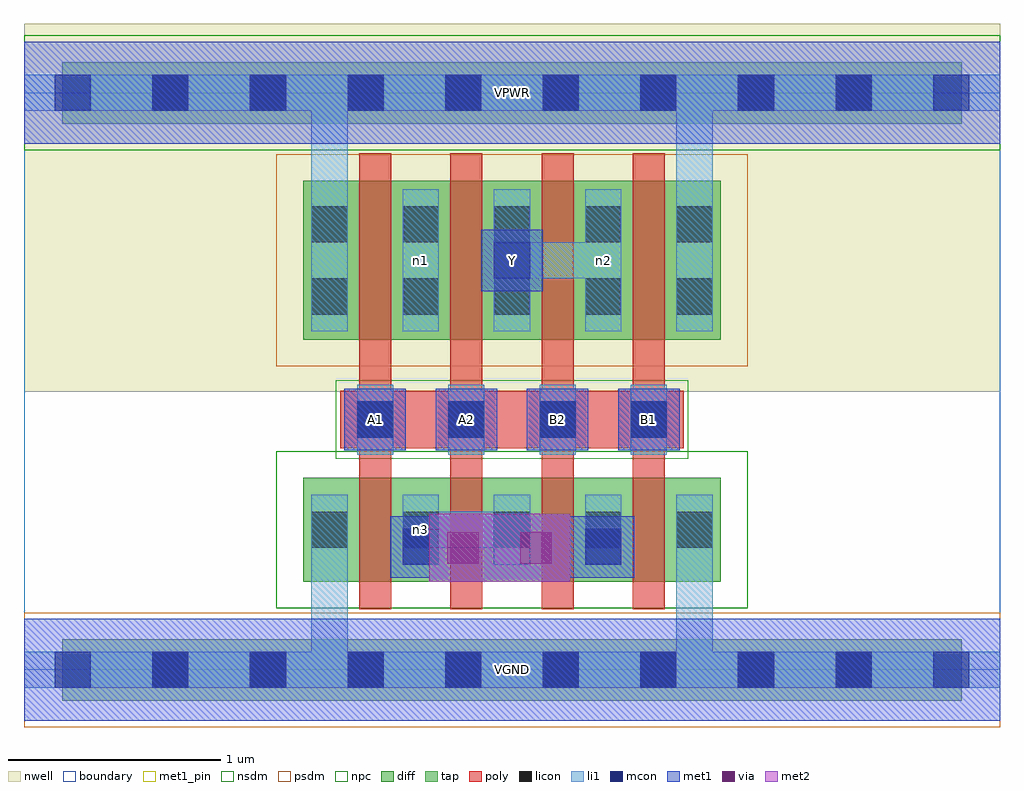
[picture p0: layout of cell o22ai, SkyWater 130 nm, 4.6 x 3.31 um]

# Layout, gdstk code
import gdstk
lib = gdstk.Library(unit=1e-6, precision=1e-09)
def R(c, l, rs):  # rectangles x0, y0, x1, y1
    for r in rs: c.add(gdstk.rectangle(r[:2], r[2:], *l))
def A(c, l, x, y, w, h, nx, ny, dx, dy):  # array of equal rectangles
    R(c, l, [(x+i*dx, y+j*dy, x+i*dx+w, y+j*dy+h) for i in range(nx) for j in range(ny)])
nwell = (64, 20)
diff = (65, 20)
tap = (65, 44)
poly = (66, 20)
licon = (66, 44)
li1 = (67, 20)
mcon = (67, 44)
met1_pin = (68, 16)
met1 = (68, 20)
via = (68, 44)
met2 = (69, 20)
nsdm = (93, 44)
psdm = (94, 20)
npc = (95, 20)
boundary = (235, 4)

o22ai = lib.new_cell('o22ai')
R(o22ai, nwell, [(0,1.31,4.6,3.045)])
R(o22ai, diff, [(1.315,0.415,3.285,0.905), (1.315,1.555,3.285,2.305)])
R(o22ai, tap, [(0.18,-0.145,4.42,0.145), (0.18,2.575,4.42,2.865)])
R(o22ai, poly, [(1.58,0.285,1.73,2.435), (1.58,0.285,1.73,2.435), (2.01,0.285,2.16,2.435), (2.01,0.285,2.16,2.435), (2.44,0.285,2.59,2.435), (2.44,0.285,2.59,2.435), (2.87,0.285,3.02,2.435), (2.87,0.285,3.02,2.435), (1.49,1.045,3.11,1.315), (1.49,1.045,3.11,1.315)])
A(o22ai, licon, 0.605, -0.085, 0.17, 0.17, 8, 2, 0.46, 2.72)
A(o22ai, licon, 1.355, 0.575, 0.17, 0.17, 5, 2, 0.43, 1.1)
A(o22ai, licon, 1.355, 2.015, 0.17, 0.17, 5, 1, 0.43, 0)
R(o22ai, licon, [(1.57,1.095,1.74,1.265), (1.57,1.095,1.74,1.265), (2,1.095,2.17,1.265), (2,1.095,2.17,1.265), (2.43,1.095,2.6,1.265), (2.43,1.095,2.6,1.265), (2.86,1.095,3.03,1.265), (2.86,1.095,3.03,1.265)])
A(o22ai, li1, 1.355, 0.495, 0.17, 0.33, 5, 1, 0.43, 0)
A(o22ai, li1, 1.355, 1.595, 0.17, 0.67, 5, 1, 0.43, 0)
R(o22ai, li1, [(0,-0.085,4.6,0.085), (1.355,-0.085,1.525,0.825), (3.075,-0.085,3.245,0.825), (1.785,0.575,2.385,0.745), (1.57,1.015,1.74,1.345), (1.57,1.015,1.74,1.345), (2,1.015,2.17,1.345), (2,1.015,2.17,1.345), (2.43,1.015,2.6,1.345), (2.43,1.015,2.6,1.345), (2.86,1.015,3.03,1.345), (2.86,1.015,3.03,1.345), (1.355,1.595,1.525,2.805), (3.075,1.595,3.245,2.805), (2.215,1.845,2.815,2.015), (0,2.635,4.6,2.805)])
A(o22ai, mcon, 0.145, -0.085, 0.17, 0.17, 10, 2, 0.46, 2.72)
A(o22ai, mcon, 1.57, 1.095, 0.17, 0.17, 4, 1, 0.43, 0)
R(o22ai, mcon, [(1.785,0.495,1.955,0.665), (2.645,0.495,2.815,0.665), (2.215,1.845,2.385,2.015)])
A(o22ai, met1_pin, 1.51, 1.035, 0.29, 0.29, 4, 1, 0.43, 0)
R(o22ai, met1_pin, [(0,-0.24,4.6,0.24), (2.155,1.785,2.445,2.075), (0,2.48,4.6,2.96)])
A(o22ai, met1, 1.51, 1.035, 0.29, 0.29, 4, 1, 0.43, 0)
R(o22ai, met1, [(0,-0.24,4.6,0.24), (1.91,0.415,2.23,0.735), (2.23,0.415,2.255,0.735), (2.255,0.415,2.575,0.735), (1.725,0.435,2.015,0.725), (2.575,0.435,2.585,0.725), (2.585,0.435,2.875,0.725), (2,0.505,2.14,0.65), (2.14,0.505,2.255,0.65), (2.23,0.505,2.345,0.645), (2.345,0.505,2.6,0.645), (2.46,0.505,2.6,0.65), (1.8,0.51,2.14,0.65), (2.14,0.51,2.255,0.65), (2.46,0.51,2.8,0.65), (2.155,1.785,2.445,2.075), (0,2.48,4.6,2.96)])
R(o22ai, via, [(1.995,0.5,2.145,0.65), (2.34,0.5,2.49,0.65)])
R(o22ai, met2, [(1.91,0.415,2.23,0.735), (2.23,0.415,2.255,0.735), (2.255,0.415,2.575,0.735), (2,0.505,2.485,0.645)])
R(o22ai, nsdm, [(1.19,0.29,3.41,1.03), (0,2.45,4.6,2.99)])
R(o22ai, psdm, [(0,-0.27,4.6,0.27), (1.19,1.43,3.41,2.43)])
R(o22ai, npc, [(1.47,0.995,3.13,1.365)])
R(o22ai, boundary, [(0,0,4.6,2.72)])
o22ai.add(gdstk.Label('n1', (1.87,1.93), layer=67, texttype=5))
o22ai.add(gdstk.Label('n2', (2.73,1.93), layer=67, texttype=5))
o22ai.add(gdstk.Label('n3', (1.87,0.66), layer=67, texttype=5))
o22ai.add(gdstk.Label('A1', (1.655,1.18), layer=68, texttype=5))
o22ai.add(gdstk.Label('A2', (2.085,1.18), layer=68, texttype=5))
o22ai.add(gdstk.Label('B1', (2.945,1.18), layer=68, texttype=5))
o22ai.add(gdstk.Label('B2', (2.515,1.18), layer=68, texttype=5))
o22ai.add(gdstk.Label('Y', (2.3,1.93), layer=68, texttype=5))
o22ai.add(gdstk.Label('VPWR', (2.3,2.72), layer=68, texttype=5))
o22ai.add(gdstk.Label('VGND', (2.3,0), layer=68, texttype=5))
o22ai.add(gdstk.Label('A1', (1.655,1.18), layer=68, texttype=16))
o22ai.add(gdstk.Label('A2', (2.085,1.18), layer=68, texttype=16))
o22ai.add(gdstk.Label('B1', (2.945,1.18), layer=68, texttype=16))
o22ai.add(gdstk.Label('B2', (2.515,1.18), layer=68, texttype=16))
o22ai.add(gdstk.Label('Y', (2.3,1.93), layer=68, texttype=16))
o22ai.add(gdstk.Label('VPWR', (2.3,2.72), layer=68, texttype=16))
o22ai.add(gdstk.Label('VGND', (2.3,0), layer=68, texttype=16))

lib.write_gds('o22ai.gds')
